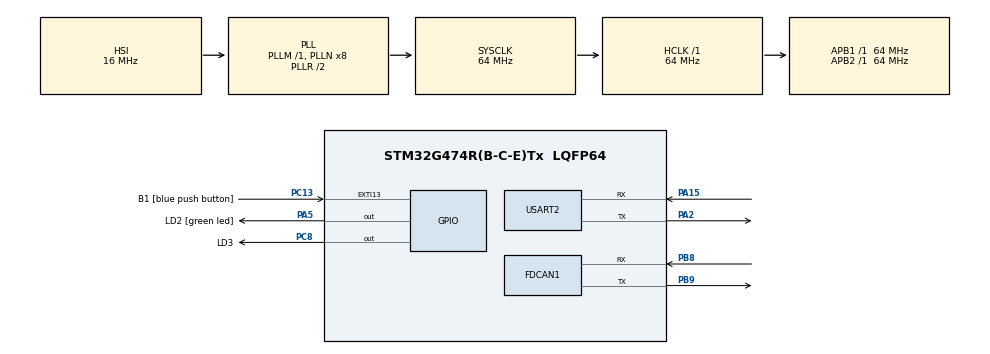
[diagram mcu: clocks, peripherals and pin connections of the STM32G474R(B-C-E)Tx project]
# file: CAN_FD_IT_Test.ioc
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Mcu.Family=STM32G4
RCC.CortexFreq_Value=64000000
FDCAN1.DataSyncJumpWidth=4
PA14.GPIO_Label=T_SWCLK
PC13.GPIO_Label=B1 [blue push button]
RCC.SYSCLKSource=RCC_SYSCLKSOURCE_PLLCLK
ProjectManager.StackSize=0x400
RCC.HCLKFreq_Value=64000000
RCC.APB2TimFreq_Value=64000000
FDCAN1.FrameFormat=FDCAN_FRAME_FD_BRS
RCC.AHBFreq_Value=64000000
NVIC.EXTI15_10_IRQn=true\:0\:0\:false\:false\:true\:true\:true
RCC.HSE_VALUE=24000000
USART2.VirtualMode-Asynchronous=VM_ASYNC
RCC.RTCClockSelection=RCC_RTCCLKSOURCE_LSE
RCC.ADC12Freq_Value=64000000
FDCAN1.Mode=FDCAN_MODE_NORMAL
PA15.Mode=Asynchronous
FDCAN1.ClockDivider=FDCAN_CLOCK_DIV1
FDCAN1.StdFiltersNbr=1
PC14-OSC32_IN.Mode=LSE-External-Oscillator
PA14.Mode=Serial_Wire
FDCAN1.TransmitPause=ENABLE
FDCAN1.NominalPrescaler=1
VP_SYS_VS_DBSignals.Mode=DisableDeadBatterySignals
FDCAN1.NominalTimeSeg2=16
FDCAN1.NominalTimeSeg1=63
Mcu.Package=LQFP64
PB9.Signal=FDCAN1_TX
PA15.Signal=USART2_RX
FDCAN1.DataTimeSeg2=4
FDCAN1.DataTimeSeg1=5
RCC.APB1TimFreq_Value=64000000
PF1-OSC_OUT.Mode=HSE-External-Oscillator
PF1-OSC_OUT.Signal=RCC_OSC_OUT
RCC.HSI48_VALUE=48000000
PA3.Signal=LPUART1_RX
NVIC.FDCAN1_IT0_IRQn=true\:0\:0\:false\:false\:true\:true\:true
PB3.GPIO_Label=T_SWO
PC15-OSC32_OUT.Mode=LSE-External-Oscillator
PB8-BOOT0.Mode=FDCAN_Activate
PC13.Signal=GPXTI13
PC8.Signal=GPIO_Output
RCC.EXTERNAL_CLOCK_VALUE=12288000
PC14-OSC32_IN.Signal=RCC_OSC32_IN
PC8.GPIO_Label=LD3
PA13.Signal=SYS_JTMS-SWDIO
ProjectManager.TargetToolchain=STM32CubeIDE
PB9.Mode=FDCAN_Activate
RCC.USBFreq_Value=64000000
PC15-OSC32_OUT.Signal=RCC_OSC32_OUT
PF0-OSC_IN.Mode=HSE-External-Oscillator
PA5.Signal=GPIO_Output
PB8-BOOT0.Signal=FDCAN1_RX
board=NUCLEO-G474RE
RCC.VCOOutputFreq_Value=128000000
FDCAN1.AutoRetransmission=ENABLE
RCC.ADC345Freq_Value=64000000
RCC.APB2Freq_Value=64000000
PA13.Mode=Serial_Wire
Mcu.Name=STM32G474R(B-C-E)Tx
PA13.GPIO_Label=T_SWDIO
PA2.Signal=USART2_TX
PB3.Signal=SYS_JTDO-SWO
FDCAN1.DataPrescaler=1
FDCAN1.NominalSyncJumpWidth=16
RCC.SYSCLKFreq_VALUE=64000000
PA5.GPIO_Label=LD2 [green led]
PA14.Signal=SYS_JTCK-SWCLK
ProjectManager.HeapSize=0x200
RCC.HSI_VALUE=16000000
NVIC.PriorityGroup=NVIC_PRIORITYGROUP_4
PA2.Mode=Asynchronous
PF0-OSC_IN.Signal=RCC_OSC_IN
RCC.APB1Freq_Value=64000000
PA3.GPIO_Label=LPUART1_RX [STLINKV3E_VCP_TX]

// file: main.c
/* USER CODE BEGIN Header */
/**
  ******************************************************************************
  * @file           : main.c
  * @brief          : Main program body
  ******************************************************************************
  * @attention
  *
  * <h2><center>&copy; Copyright (c) 2021 STMicroelectronics.
  * All rights reserved.</center></h2>
  *
  * This software component is licensed by ST under BSD 3-Clause license,
  * the "License"; You may not use this file except in compliance with the
  * License. You may obtain a copy of the License at:
  *                        opensource.org/licenses/BSD-3-Clause
  *
  ******************************************************************************
  */
/* USER CODE END Header */
#include "main.h"

/* USER CODE BEGIN Includes */
#include "stdio.h"
/* USER CODE END Includes */

/* USER CODE BEGIN PTD */
#define LED1 1
#define LED2 2
#define LED4 4

#ifdef __GNUC__
  /* With GCC, small printf (option LD Linker->Libraries->Small printf
     set to 'Yes') calls __io_putchar() */
  #define PUTCHAR_PROTOTYPE int __io_putchar(int ch)
#else
  #define PUTCHAR_PROTOTYPE int fputc(int ch, FILE *f)
#endif /* __GNUC__ */
/* USER CODE END PTD */

FDCAN_HandleTypeDef hfdcan1;

UART_HandleTypeDef huart2;

/* USER CODE BEGIN PV */
FDCAN_FilterTypeDef sFilterConfig;
FDCAN_TxHeaderTypeDef TxHeader;
FDCAN_RxHeaderTypeDef RxHeader;
uint8_t TxData[] = {0x10, 0x32, 0x54, 0x76, 0x98, 0x00, 0x11, 0x22, 0x33, 0x44, 0x55, 0x66, 0x77, 0x88, 0x99, 0x00};
uint8_t RxData[16];
volatile uint32_t Instance = 0;
/* USER CODE END PV */

void SystemClock_Config(void);
static void MX_GPIO_Init(void);
static void MX_FDCAN1_Init(void);
static void MX_USART2_UART_Init(void);
/* USER CODE BEGIN PFP */
static uint32_t BufferCmp8b(uint8_t* pBuffer1, uint8_t* pBuffer2, uint16_t BufferLength);
void BSP_LED_On(int a)
{
	HAL_GPIO_WritePin(LD2_GPIO_Port, LD2_Pin, GPIO_PIN_SET);
}
void BSP_LED_Off(int a)
{
	HAL_GPIO_WritePin(LD2_GPIO_Port, LD2_Pin, GPIO_PIN_RESET);
}
/* USER CODE END PFP */

int main(void)
{

  /* MCU Configuration--------------------------------------------------------*/

  /* Reset of all peripherals, Initializes the Flash interface and the Systick. */
  HAL_Init();

  /* Configure the system clock */
  SystemClock_Config();

  /* Initialize all configured peripherals */
  MX_GPIO_Init();
  MX_FDCAN1_Init();
  MX_USART2_UART_Init();
  /* USER CODE BEGIN 2 */
  /* Configure reception filter to Rx FIFO 0 on both FDCAN instances */
    sFilterConfig.IdType = FDCAN_STANDARD_ID;
    sFilterConfig.FilterIndex = 0;
    sFilterConfig.FilterType = FDCAN_FILTER_MASK;
    sFilterConfig.FilterConfig = FDCAN_FILTER_TO_RXFIFO0;
    sFilterConfig.FilterID1 = 0x111;
    sFilterConfig.FilterID2 = 0x7FF;
    if (HAL_FDCAN_ConfigFilter(&hfdcan1, &sFilterConfig) != HAL_OK)
    {
      Error_Handler();
    }

    /* Configure global filter on both FDCAN instances:
       Filter all remote frames with STD and EXT ID
       Reject non matching frames with STD ID and EXT ID */
    if (HAL_FDCAN_ConfigGlobalFilter(&hfdcan1, FDCAN_REJECT, FDCAN_REJECT, FDCAN_FILTER_REMOTE, FDCAN_FILTER_REMOTE) != HAL_OK)
    {
      Error_Handler();
    }

    /* Activate Rx FIFO 0 new message notification on both FDCAN instances */
    if (HAL_FDCAN_ActivateNotification(&hfdcan1, FDCAN_IT_RX_FIFO0_NEW_MESSAGE, 0) != HAL_OK)
    {
      Error_Handler();
    }
    /* Prepare Tx message Header */
    TxHeader.Identifier = 0x111;
    TxHeader.IdType = FDCAN_STANDARD_ID;
    TxHeader.TxFrameType = FDCAN_DATA_FRAME;
    TxHeader.DataLength = FDCAN_DLC_BYTES_16;
    TxHeader.ErrorStateIndicator = FDCAN_ESI_ACTIVE;
    TxHeader.BitRateSwitch = FDCAN_BRS_ON;
    TxHeader.FDFormat = FDCAN_FD_CAN;
    TxHeader.TxEventFifoControl = FDCAN_NO_TX_EVENTS;
    TxHeader.MessageMarker = 0;

    /* Configure and enable Tx Delay Compensation, required for BRS mode.
       TdcOffset default recommended value: DataTimeSeg1 * DataPrescaler
       TdcFilter default recommended value: 0 */
    if (HAL_FDCAN_ConfigTxDelayCompensation(&hfdcan1, 5, 0) != HAL_OK)
    {
      Error_Handler();
    }
    if (HAL_FDCAN_EnableTxDelayCompensation(&hfdcan1) != HAL_OK)
    {
      Error_Handler();
    }
    /* Start the FDCAN module on both FDCAN instances */
    if (HAL_FDCAN_Start(&hfdcan1) != HAL_OK)
    {
      Error_Handler();
    }
  /* USER CODE END 2 */

  /* Infinite loop */
  /* USER CODE BEGIN WHILE */
    HAL_StatusTypeDef err;
  while (1)
  {
    /* USER CODE END WHILE */

    /* USER CODE BEGIN 3 */
	  HAL_GPIO_TogglePin(LD3_GPIO_Port, LD3_Pin);
     err = HAL_FDCAN_AddMessageToTxFifoQ(&hfdcan1, &TxHeader, TxData);
       HAL_Delay(500);
  }
  /* USER CODE END 3 */
}

void SystemClock_Config(void)
{
  RCC_OscInitTypeDef RCC_OscInitStruct = {0};
  RCC_ClkInitTypeDef RCC_ClkInitStruct = {0};
  RCC_PeriphCLKInitTypeDef PeriphClkInit = {0};

  /** Configure the main internal regulator output voltage
  */
  HAL_PWREx_ControlVoltageScaling(PWR_REGULATOR_VOLTAGE_SCALE1);
  /** Initializes the RCC Oscillators according to the specified parameters
  * in the RCC_OscInitTypeDef structure.
  */
  RCC_OscInitStruct.OscillatorType = RCC_OSCILLATORTYPE_HSI;
  RCC_OscInitStruct.HSIState = RCC_HSI_ON;
  RCC_OscInitStruct.HSICalibrationValue = RCC_HSICALIBRATION_DEFAULT;
  RCC_OscInitStruct.PLL.PLLState = RCC_PLL_ON;
  RCC_OscInitStruct.PLL.PLLSource = RCC_PLLSOURCE_HSI;
  RCC_OscInitStruct.PLL.PLLM = RCC_PLLM_DIV1;
  RCC_OscInitStruct.PLL.PLLN = 8;
  RCC_OscInitStruct.PLL.PLLP = RCC_PLLP_DIV2;
  RCC_OscInitStruct.PLL.PLLQ = RCC_PLLQ_DIV2;
  RCC_OscInitStruct.PLL.PLLR = RCC_PLLR_DIV2;
  if (HAL_RCC_OscConfig(&RCC_OscInitStruct) != HAL_OK)
  {
    Error_Handler();
  }
  /** Initializes the CPU, AHB and APB buses clocks
  */
  RCC_ClkInitStruct.ClockType = RCC_CLOCKTYPE_HCLK|RCC_CLOCKTYPE_SYSCLK
                              |RCC_CLOCKTYPE_PCLK1|RCC_CLOCKTYPE_PCLK2;
  RCC_ClkInitStruct.SYSCLKSource = RCC_SYSCLKSOURCE_PLLCLK;
  RCC_ClkInitStruct.AHBCLKDivider = RCC_SYSCLK_DIV1;
  RCC_ClkInitStruct.APB1CLKDivider = RCC_HCLK_DIV1;
  RCC_ClkInitStruct.APB2CLKDivider = RCC_HCLK_DIV1;

  if (HAL_RCC_ClockConfig(&RCC_ClkInitStruct, FLASH_LATENCY_1) != HAL_OK)
  {
    Error_Handler();
  }
  /** Initializes the peripherals clocks
  */
  PeriphClkInit.PeriphClockSelection = RCC_PERIPHCLK_USART2|RCC_PERIPHCLK_FDCAN;
  PeriphClkInit.Usart2ClockSelection = RCC_USART2CLKSOURCE_PCLK1;
  PeriphClkInit.FdcanClockSelection = RCC_FDCANCLKSOURCE_PCLK1;
  if (HAL_RCCEx_PeriphCLKConfig(&PeriphClkInit) != HAL_OK)
  {
    Error_Handler();
  }
}

static void MX_FDCAN1_Init(void)
{

  hfdcan1.Instance = FDCAN1;
  hfdcan1.Init.ClockDivider = FDCAN_CLOCK_DIV1;
  hfdcan1.Init.FrameFormat = FDCAN_FRAME_FD_BRS;
  hfdcan1.Init.Mode = FDCAN_MODE_NORMAL;
  hfdcan1.Init.AutoRetransmission = ENABLE;
  hfdcan1.Init.TransmitPause = ENABLE;
  hfdcan1.Init.ProtocolException = DISABLE;
  hfdcan1.Init.NominalPrescaler = 1;
  hfdcan1.Init.NominalSyncJumpWidth = 16;
  hfdcan1.Init.NominalTimeSeg1 = 63;
  hfdcan1.Init.NominalTimeSeg2 = 16;
  hfdcan1.Init.DataPrescaler = 1;
  hfdcan1.Init.DataSyncJumpWidth = 4;
  hfdcan1.Init.DataTimeSeg1 = 5;
  hfdcan1.Init.DataTimeSeg2 = 4;
  hfdcan1.Init.StdFiltersNbr = 1;
  hfdcan1.Init.ExtFiltersNbr = 0;
  hfdcan1.Init.TxFifoQueueMode = FDCAN_TX_FIFO_OPERATION;
  if (HAL_FDCAN_Init(&hfdcan1) != HAL_OK)
  {
    Error_Handler();
  }

}

static void MX_USART2_UART_Init(void)
{

  huart2.Instance = USART2;
  huart2.Init.BaudRate = 115200;
  huart2.Init.WordLength = UART_WORDLENGTH_8B;
  huart2.Init.StopBits = UART_STOPBITS_1;
  huart2.Init.Parity = UART_PARITY_NONE;
  huart2.Init.Mode = UART_MODE_TX_RX;
  huart2.Init.HwFlowCtl = UART_HWCONTROL_NONE;
  huart2.Init.OverSampling = UART_OVERSAMPLING_16;
  huart2.Init.OneBitSampling = UART_ONE_BIT_SAMPLE_DISABLE;
  huart2.Init.ClockPrescaler = UART_PRESCALER_DIV1;
  huart2.AdvancedInit.AdvFeatureInit = UART_ADVFEATURE_NO_INIT;
  if (HAL_UART_Init(&huart2) != HAL_OK)
  {
    Error_Handler();
  }
  if (HAL_UARTEx_SetTxFifoThreshold(&huart2, UART_TXFIFO_THRESHOLD_1_8) != HAL_OK)
  {
    Error_Handler();
  }
  if (HAL_UARTEx_SetRxFifoThreshold(&huart2, UART_RXFIFO_THRESHOLD_1_8) != HAL_OK)
  {
    Error_Handler();
  }
  if (HAL_UARTEx_DisableFifoMode(&huart2) != HAL_OK)
  {
    Error_Handler();
  }

}

static void MX_GPIO_Init(void)
{
  GPIO_InitTypeDef GPIO_InitStruct = {0};

  /* GPIO Ports Clock Enable */
  __HAL_RCC_GPIOC_CLK_ENABLE();
  __HAL_RCC_GPIOF_CLK_ENABLE();
  __HAL_RCC_GPIOA_CLK_ENABLE();
  __HAL_RCC_GPIOB_CLK_ENABLE();

  /*Configure GPIO pin Output Level */
  HAL_GPIO_WritePin(LD2_GPIO_Port, LD2_Pin, GPIO_PIN_RESET);

  /*Configure GPIO pin Output Level */
  HAL_GPIO_WritePin(LD3_GPIO_Port, LD3_Pin, GPIO_PIN_RESET);

  /*Configure GPIO pin : B1_Pin */
  GPIO_InitStruct.Pin = B1_Pin;
  GPIO_InitStruct.Mode = GPIO_MODE_IT_RISING;
  GPIO_InitStruct.Pull = GPIO_NOPULL;
  HAL_GPIO_Init(B1_GPIO_Port, &GPIO_InitStruct);

  /*Configure GPIO pin : LPUART1_RX_Pin */
  GPIO_InitStruct.Pin = LPUART1_RX_Pin;
  GPIO_InitStruct.Mode = GPIO_MODE_AF_PP;
  GPIO_InitStruct.Pull = GPIO_NOPULL;
  GPIO_InitStruct.Speed = GPIO_SPEED_FREQ_LOW;
  GPIO_InitStruct.Alternate = GPIO_AF12_LPUART1;
  HAL_GPIO_Init(LPUART1_RX_GPIO_Port, &GPIO_InitStruct);

  /*Configure GPIO pin : LD2_Pin */
  GPIO_InitStruct.Pin = LD2_Pin;
  GPIO_InitStruct.Mode = GPIO_MODE_OUTPUT_PP;
  GPIO_InitStruct.Pull = GPIO_NOPULL;
  GPIO_InitStruct.Speed = GPIO_SPEED_FREQ_LOW;
  HAL_GPIO_Init(LD2_GPIO_Port, &GPIO_InitStruct);

  /*Configure GPIO pin : LD3_Pin */
  GPIO_InitStruct.Pin = LD3_Pin;
  GPIO_InitStruct.Mode = GPIO_MODE_OUTPUT_PP;
  GPIO_InitStruct.Pull = GPIO_NOPULL;
  GPIO_InitStruct.Speed = GPIO_SPEED_FREQ_LOW;
  HAL_GPIO_Init(LD3_GPIO_Port, &GPIO_InitStruct);

  /* EXTI interrupt init*/
  HAL_NVIC_SetPriority(EXTI15_10_IRQn, 0, 0);
  HAL_NVIC_EnableIRQ(EXTI15_10_IRQn);

}

/* USER CODE BEGIN 4 */
/**
  * @brief  Rx FIFO 0 callback.
  * @param  hfdcan pointer to an FDCAN_HandleTypeDef structure that contains
  *         the configuration information for the specified FDCAN.
  * @param  RxFifo0ITs indicates which Rx FIFO 0 interrupts are signaled.
  *         This parameter can be any combination of @arg FDCAN_Rx_Fifo0_Interrupts.
  * @retval None
  */
void HAL_FDCAN_RxFifo0Callback(FDCAN_HandleTypeDef *hfdcan, uint32_t RxFifo0ITs)
{
  if((RxFifo0ITs & FDCAN_IT_RX_FIFO0_NEW_MESSAGE) != 0)
  {
		HAL_GPIO_TogglePin(LD2_GPIO_Port, LD2_Pin);

    /* Retrieve Rx messages from RX FIFO0 */
    if (HAL_FDCAN_GetRxMessage(hfdcan, FDCAN_RX_FIFO0, &RxHeader, RxData) != HAL_OK)
    {
      Error_Handler();
    }
    for(int i=0;i<16;i++)
    {
    	printf("%04x ",RxData[i]);
    }
    printf("\r\n");
    /* Compare payload to expected data */
    if (BufferCmp8b(TxData, RxData, 16) != 0)
    {
      Error_Handler();
    }
    else
    {
      if (hfdcan->Instance == FDCAN1)
      {
        /* Turn LED1 on */
   //     BSP_LED_On(LED1);
      }
      else /* FDCAN2 */
      {
        /* Turn LED4 on */
     //   BSP_LED_On(LED4);
      }
    }
  }
}

/**
  * @brief Compares two buffers.
  * @par Input
  *  - pBuffer1, pBuffer2: buffers to be compared.
  *  - BufferLength: buffer's length
  * @par Output
  * None.
  * @retval
  *   0: pBuffer1 identical to pBuffer2
  *   1: pBuffer1 differs from pBuffer2
  */
static uint32_t BufferCmp8b(uint8_t* pBuffer1, uint8_t* pBuffer2, uint16_t BufferLength)
{
  while(BufferLength--)
  {
    if(*pBuffer1 != *pBuffer2)
    {
      return 1;
    }

    pBuffer1++;
    pBuffer2++;
  }
  return 0;
}

PUTCHAR_PROTOTYPE
{
  /* Place your implementation of fputc here */
  /* e.g. write a character to the EVAL_COM1 and Loop until the end of transmission */
  HAL_UART_Transmit(&huart2, (uint8_t *)&ch, 1, 0xFFFF);

  return ch;
}

/* USER CODE END 4 */

void Error_Handler(void)
{
  __disable_irq();
  while (1)
  {
  }
}

/************************ (C) COPYRIGHT STMicroelectronics *****END OF FILE****/
